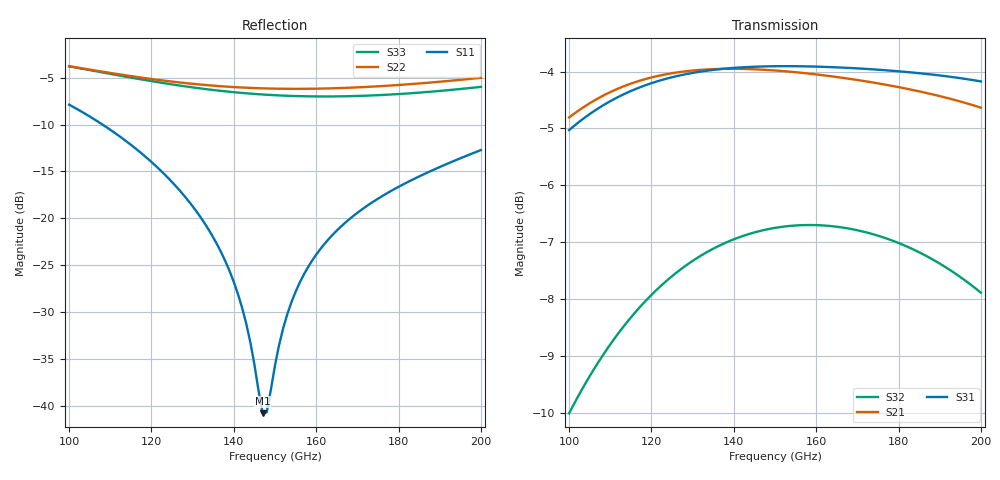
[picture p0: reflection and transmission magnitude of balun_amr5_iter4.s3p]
#  GHZ S DB R 50
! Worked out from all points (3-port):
!   101 points, 100 GHz to 200 GHz, reference 50 ohm
!   strongest paths, dB at 100 GHz, 125 GHz, 150 GHz, 175 GHz, 200 GHz:
!     S31: -5.0, -4.1, -3.9, -4.0, -4.2
!     S21: -4.8, -4.0, -4.0, -4.2, -4.6
!     S32: -10.0, -7.6, -6.7, -6.9, -7.9
!   lowest |S11| = -40.8 dB at 147 GHz (marker M1), VSWR 1.02, Z = 50.9 - j0.086 ohm
!   |S11| at or under -10 dB: 108.1 GHz to end of sweep
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100  -7.88 124.9  -4.81 -12.3  -5.03 164.3
     -4.81 -12.3  -3.78 59.1  -10.01 89.9
     -5.03 164.3  -10.01 89.9  -3.79 49.8
120  -13.99 94.5  -4.10 -43.0  -4.20 131.9
     -4.10 -43.0  -5.15 41.8  -7.93 60.5
     -4.20 131.9  -7.93 60.5  -5.37 29.8
134  -21.29 74.7  -3.96 -62.5  -3.98 111.2
     -3.96 -62.5  -5.82 31.7  -7.15 41.4
     -3.98 111.2  -7.15 41.4  -6.27 18.3
142  -29.52 57.4  -3.95 -73.1  -3.93 100.0
     -3.95 -73.1  -6.05 26.3  -6.90 31.0
     -3.93 100.0  -6.90 31.0  -6.63 12.4
147  -40.79 -5.3  -3.97 -79.5  -3.91 93.2
     -3.97 -79.5  -6.14 22.9  -6.79 24.7
     -3.91 93.2  -6.79 24.7  -6.80 8.8
148  -40.68 -41.7  -3.97 -80.7  -3.91 91.9
     -3.97 -80.7  -6.15 22.2  -6.78 23.4
     -3.91 91.9  -6.78 23.4  -6.83 8.1
150  -35.68 -82.3  -3.98 -83.3  -3.91 89.2
     -3.98 -83.3  -6.17 20.9  -6.75 20.9
     -3.91 89.2  -6.75 20.9  -6.87 6.6
155  -27.83 -105.9  -4.01 -89.5  -3.91 82.6
     -4.01 -89.5  -6.20 17.4  -6.71 14.8
     -3.91 82.6  -6.71 14.8  -6.96 3.1
164  -21.75 -118.6  -4.09 -100.5  -3.92 70.9
     -4.09 -100.5  -6.14 10.9  -6.72 3.8
     -3.92 70.9  -6.72 3.8  -7.01 -3.5
200  -12.72 -144.4  -4.63 -144.3  -4.17 24.7
     -4.63 -144.3  -5.02 -19.8  -7.89 -39.5
     -4.17 24.7  -7.89 -39.5  -5.99 -34.0
